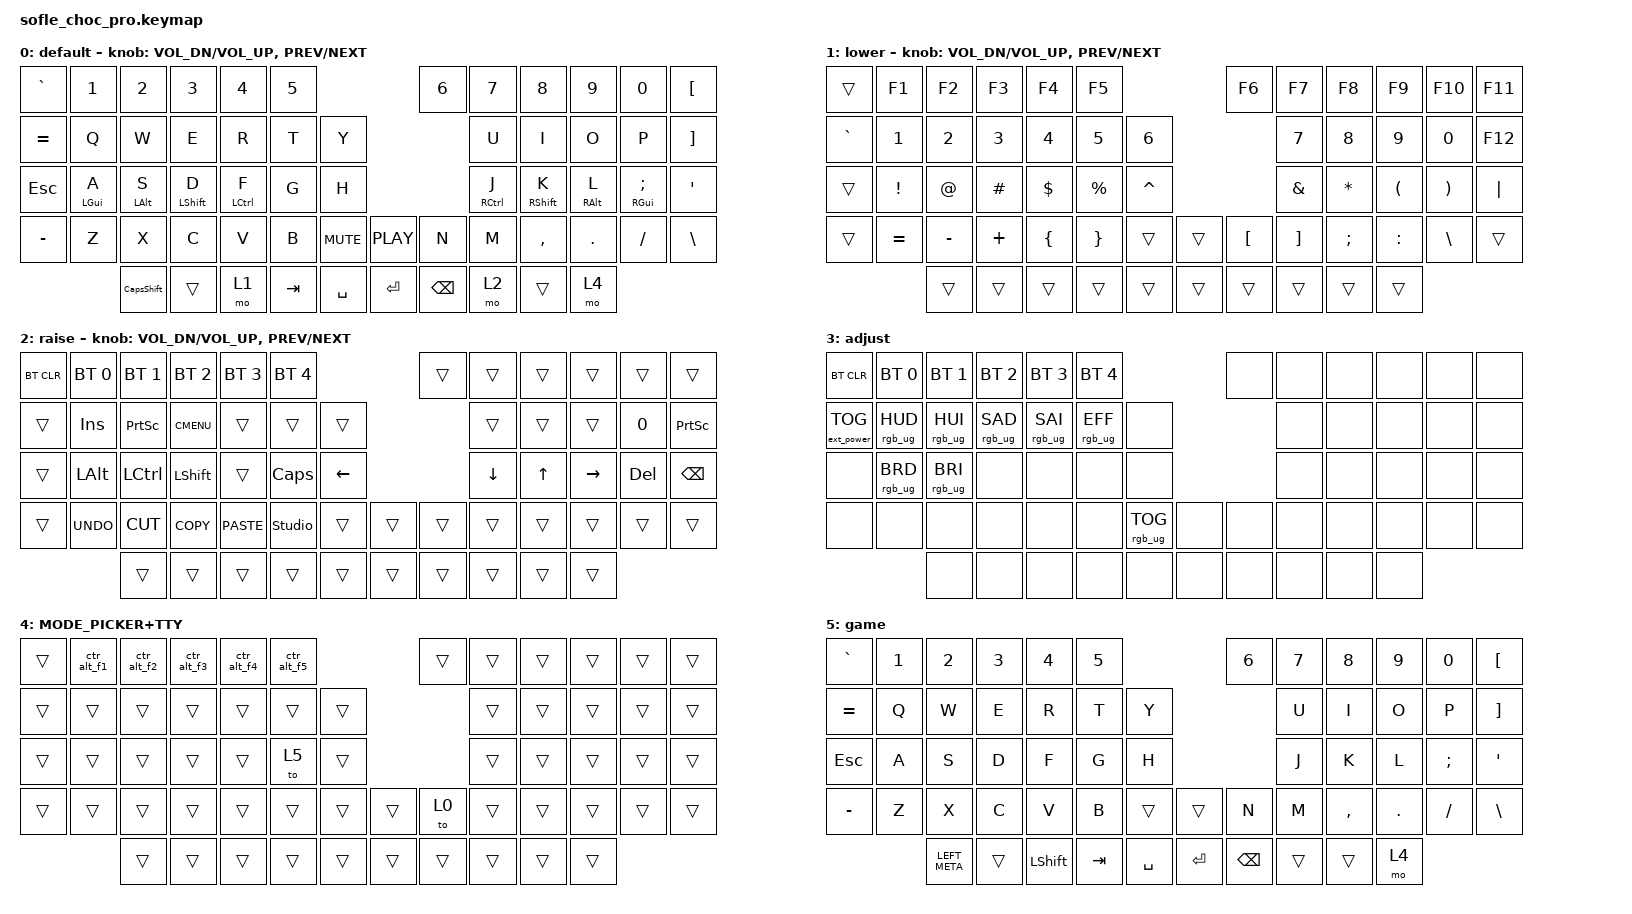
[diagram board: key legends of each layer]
/*
* Copyright (c) 2020 The ZMK Contributors
*
* SPDX-License-Identifier: MIT
*/

#include <behaviors.dtsi>
#include <dt-bindings/zmk/bt.h>
#include <dt-bindings/zmk/ext_power.h>
#include <dt-bindings/zmk/keys.h>
#include <dt-bindings/zmk/rgb.h>

#define BASE 0
#define LOWER 1
#define RAISE 2
#define ADJUST 3

/ {
    // Activate ADJUST layer by pressing raise and lower

    conditional_layers {
        compatible = "zmk,conditional-layers";

        adjust_layer {
            if-layers = <1 2>;
            then-layer = <3>;
        };
    };

    macros {
        CapsShift: CapsShift {
            compatible = "zmk,behavior-macro";
            #binding-cells = <0>;
            bindings = <&kt LEFT_SHIFT &kp CAPSLOCK &kt LEFT_SHIFT>;
            label = "CAPSSHIFT";
        };

        ctr_alt_f1: ctr_alt_f1 {
            compatible = "zmk,behavior-macro";
            #binding-cells = <0>;
            bindings = <&kt LCTRL &kt LEFT_ALT &kp F1 &kt LEFT_ALT &kt LCTRL>;
            label = "CTR_ALT_F1";
        };

        ctr_alt_f2: ctr_alt_f2 {
            compatible = "zmk,behavior-macro";
            #binding-cells = <0>;
            bindings = <&kt LCTRL &kt LEFT_ALT &kp F2 &kt LEFT_ALT &kt LCTRL>;
            label = "CTR_ALT_F2";
        };

        ctr_alt_f3: ctr_alt_f3 {
            compatible = "zmk,behavior-macro";
            #binding-cells = <0>;
            bindings = <&kt LCTRL &kt LEFT_ALT &kp F3 &kt LEFT_ALT &kt LCTRL>;
            label = "CTR_ALT_F3";
        };

        ctr_alt_f4: ctr_alt_f4 {
            compatible = "zmk,behavior-macro";
            #binding-cells = <0>;
            bindings = <&kt LCTRL &kt LEFT_ALT &kp F4 &kt LEFT_ALT &kt LCTRL>;
            label = "CTR_ALT_F4";
        };

        ctr_alt_f5: ctr_alt_f5 {
            compatible = "zmk,behavior-macro";
            #binding-cells = <0>;
            bindings = <&kt LCTRL &kt LEFT_ALT &kp F5 &kt LEFT_ALT &kt LCTRL>;
            label = "CTR_ALT_F5";
        };
    };

    keymap {
        compatible = "zmk,keymap";

        default_layer {
            display-name = "default";

            // ------------------------------------------------------------------------------------------------------------
            // |   `   |  1  |  2  |  3   |  4   |  5   |                   |  6   |  7    |  8    |  9   |   0   |   `   |
            // |  ESC  |  Q  |  W  |  E   |  R   |  T   |                   |  Y   |  U    |  I    |  O   |   P   | BKSPC |
            // |  TAB  |  A  |  S  |  D   |  F   |  G   |                   |  H   |  J    |  K    |  L   |   ;   |   '   |
            // | SHIFT |  Z  |  X  |  C   |  V   |  B   |  MUTE  |  | PLAY  |  N   |  M    |  ,    |  .   |   /   | SHIFT |
            //               | GUI | ALT  | CTRL | LOWER|  ENTER |  | SPACE | RAISE| CTRL  | ALT   | GUI  |

            bindings = <
&kp GRAVE   &kp N1          &kp N2          &kp N3            &kp N4       &kp N5                           &kp N6         &kp N7       &kp N8             &kp N9           &kp N0                   &kp LEFT_BRACKET
&kp EQUAL   &kp Q           &kp W           &kp E             &kp R        &kp T    &kp Y                                  &kp U        &kp I              &kp O            &kp P                    &kp RIGHT_BRACKET
&kp ESCAPE  &mt LEFT_GUI A  &mt LEFT_ALT S  &mt LEFT_SHIFT D  &mt LCTRL F  &kp G    &kp H                                  &mt RCTRL J  &mt RIGHT_SHIFT K  &mt RIGHT_ALT L  &mt RIGHT_GUI SEMICOLON  &kp SQT
&kp MINUS   &kp Z           &kp X           &kp C             &kp V        &kp B    &kp C_MUTE  &kp C_PLAY  &kp N          &kp M        &kp COMMA          &kp DOT          &kp FSLH                 &kp BACKSLASH
                            &CapsShift      &trans            &mo 1        &kp TAB  &kp SPACE   &kp RETURN  &kp BACKSPACE  &mo 2        &trans             &mo 4
            >;

            sensor-bindings = <&inc_dec_kp C_VOL_DN C_VOL_UP &inc_dec_kp C_PREV C_NEXT>;
        };

        lower_layer {
            display-name = "lower";

            // ------------------------------------------------------------------------------------------------------------
            // |       |  F1 |  F2 |  F3  |  F4  |  F5  |                   |  F6  |  F7   |  F8   |  F9  |  F10  |  F11  |
            // |   `   |  1  |  2  |  3   |  4   |  5   |                   |  6   |  7    |  8    |  9   |   0   |  F12  |
            // |       |  !  |  @  |  #   |  $   |  %   |                   |  ^   |  &    |  *    |  (   |   )   |   |   |
            // |       |  =  |  -  |  +   |  {   |  }   |        |  |       |  [   |  ]    |  ;    |  :   |   \   |       |
            //               |     |      |      |      |        |  |       |      |       |       |      |

            bindings = <
&trans     &kp F1     &kp F2     &kp F3    &kp F4    &kp F5                        &kp F6    &kp F7    &kp F8     &kp F9     &kp F10   &kp F11
&kp GRAVE  &kp N1     &kp N2     &kp N3    &kp N4    &kp N5     &kp N6                       &kp N7    &kp N8     &kp N9     &kp N0    &kp F12
&trans     &kp EXCL   &kp AT     &kp HASH  &kp DLLR  &kp PRCNT  &kp CARET                    &kp AMPS  &kp ASTRK  &kp LPAR   &kp RPAR  &kp PIPE
&trans     &kp EQUAL  &kp MINUS  &kp PLUS  &kp LBRC  &kp RBRC   &trans     &trans  &kp LBKT  &kp RBKT  &kp SEMI   &kp COLON  &kp BSLH  &trans
                      &trans     &trans    &trans    &trans     &trans     &trans  &trans    &trans    &trans     &trans
            >;

            sensor-bindings = <&inc_dec_kp C_VOL_DN C_VOL_UP &inc_dec_kp C_PREV C_NEXT>;
        };

        raise_layer {
            display-name = "raise";

            // ------------------------------------------------------------------------------------------------------------
            // | BTCLR | BT1  | BT2  |  BT3  |  BT4  |  BT5 |                |      |      |       |      |       |       |
            // |       | INS  | PSCR | GUI   |       |      |                | PGUP |      |   ^   |      |       |       |
            // |       | ALT  | CTRL | SHIFT |       | CAPS |                | PGDN |   <- |   v   |  ->  |  DEL  | BKSPC |
            // |       | UNDO | CUT  | COPY  | PASTE |      |      |  |      |      |      |       |      |       |       |
            //                |      |       |       |      |      |  |      |      |      |       |      |

            bindings = <
&bt BT_CLR  &bt BT_SEL 0  &bt BT_SEL 1  &bt BT_SEL 2  &bt BT_SEL 3  &bt BT_SEL 4                            &trans  &trans          &trans        &trans     &trans   &trans
&trans      &kp INS       &kp PSCRN     &kp K_CMENU   &trans        &trans          &trans                          &trans          &trans        &trans     &kp N0   &kp PRINTSCREEN
&trans      &kp LALT      &kp LCTRL     &kp LSHFT     &trans        &kp CLCK        &kp LEFT_ARROW                  &kp DOWN_ARROW  &kp UP_ARROW  &kp RIGHT  &kp DEL  &kp BSPC
&trans      &kp K_UNDO    &kp K_CUT     &kp K_COPY    &kp K_PASTE   &studio_unlock  &trans          &trans  &trans  &trans          &trans        &trans     &trans   &trans
                          &trans        &trans        &trans        &trans          &trans          &trans  &trans  &trans          &trans        &trans
            >;

            sensor-bindings = <&inc_dec_kp C_VOL_DN C_VOL_UP &inc_dec_kp C_PREV C_NEXT>;
        };

        adjust_layer {
            // ----------------------------------------------------------------------------------------------------------------------------
            // | BTCLR  |  BT1    |  BT2    |   BT3   |   BT4   |   BT5   |                  |      |      |       |      |       |       |
            // | EXTPWR | RGB_HUD | RGB_HUI | RGB_SAD | RGB_SAI | RGB_EFF |                  |      |      |       |      |       |       |
            // |        | RGB_BRD | RGB_BRI |         |         |         |                  |      |      |       |      |       |       |
            // |        |         |         |         |         |         | RGB_TOG | |      |      |      |       |      |       |       |
            //                    |         |         |         |         |         | |      |      |      |       |      |

            display-name = "adjust";
            bindings = <
&bt BT_CLR         &bt BT_SEL 0     &bt BT_SEL 1     &bt BT_SEL 2     &bt BT_SEL 3     &bt BT_SEL 4                             &none  &none  &none  &none  &none  &none
&ext_power EP_TOG  &rgb_ug RGB_HUD  &rgb_ug RGB_HUI  &rgb_ug RGB_SAD  &rgb_ug RGB_SAI  &rgb_ug RGB_EFF  &none                          &none  &none  &none  &none  &none
&none              &rgb_ug RGB_BRD  &rgb_ug RGB_BRI  &none            &none            &none            &none                          &none  &none  &none  &none  &none
&none              &none            &none            &none            &none            &none            &rgb_ug RGB_TOG  &none  &none  &none  &none  &none  &none  &none
                                    &none            &none            &none            &none            &none            &none  &none  &none  &none  &none
            >;
        };

        MODE_PICKER+TTY {
            bindings = <
&trans  &ctr_alt_f1  &ctr_alt_f2  &ctr_alt_f3  &ctr_alt_f4  &ctr_alt_f5                  &trans  &trans  &trans  &trans  &trans  &trans
&trans  &trans       &trans       &trans       &trans       &trans       &trans                  &trans  &trans  &trans  &trans  &trans
&trans  &trans       &trans       &trans       &trans       &to 5        &trans                  &trans  &trans  &trans  &trans  &trans
&trans  &trans       &trans       &trans       &trans       &trans       &trans  &trans  &to 0   &trans  &trans  &trans  &trans  &trans
                     &trans       &trans       &trans       &trans       &trans  &trans  &trans  &trans  &trans  &trans
            >;
        };

        game {
            bindings = <
&kp GRAVE  &kp N1  &kp N2         &kp N3  &kp N4          &kp N5                       &kp N6    &kp N7  &kp N8     &kp N9   &kp N0    &kp LBKT
&kp EQUAL  &kp Q   &kp W          &kp E   &kp R           &kp T    &kp Y                         &kp U   &kp I      &kp O    &kp P     &kp RBKT
&kp ESC    &kp A   &kp S          &kp D   &kp F           &kp G    &kp H                         &kp J   &kp K      &kp L    &kp SEMI  &kp SQT
&kp MINUS  &kp Z   &kp X          &kp C   &kp V           &kp B    &trans     &trans   &kp N     &kp M   &kp COMMA  &kp DOT  &kp FSLH  &kp BSLH
                   &kp LEFT_META  &trans  &kp LEFT_SHIFT  &kp TAB  &kp SPACE  &kp RET  &kp BSPC  &trans  &trans     &mo 4
            >;
        };
    };
};
